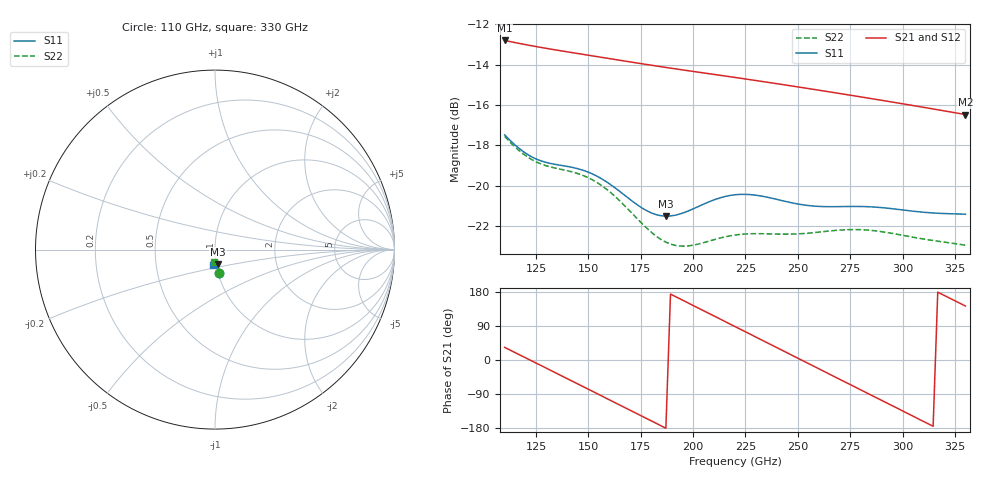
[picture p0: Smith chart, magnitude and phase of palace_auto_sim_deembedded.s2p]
! Created with skrf 1.11.0 (http://scikit-rf.org).
# GHz S DB R 50.0
!freq dBS11 angS11 dBS21 angS21 dBS12 angS12 dBS22 angS22
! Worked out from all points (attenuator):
!   101 points, 110 GHz to 330 GHz, reference 50 ohm
!   highest |S21| = -12.79 dB at 110 GHz (marker M1); lowest = -16.5 dB at 330 GHz (marker M2)
!   lowest |S11| = -21.5 dB at 187 GHz (marker M3), VSWR 1.18, Z = 51 - j8.47 ohm
!   |S11| at or under -10 dB: start of sweep to end of sweep
!   |S22| runs from -23.0 to -17.5 dB; largest |S21 - S12| = 3e-14
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110  -17.47 -81.2  -12.79 33.4  -12.79 33.4  -17.55 -81.0
118.8  -18.29 -80.4  -12.98 9.1  -12.98 9.1  -18.41 -80.4
127.6  -18.77 -79.0  -13.14 -15.2  -13.14 -15.2  -18.92 -79.2
138.6  -19.01 -78.9  -13.34 -45.6  -13.34 -45.6  -19.22 -79.5
147.4  -19.23 -80.6  -13.48 -70.0  -13.48 -70.0  -19.48 -81.6
156.2  -19.64 -82.8  -13.63 -94.5  -13.63 -94.5  -19.98 -84.6
165  -20.28 -84.1  -13.78 -118.9  -13.78 -118.9  -20.74 -86.9
176  -21.12 -82.8  -13.96 -149.4  -13.96 -149.4  -21.91 -86.7
184.8  -21.48 -79.5  -14.10 -173.9  -14.10 -173.9  -22.67 -83.6
187  -21.50 -78.6  -14.13 -180.0  -14.13 -180.0  -22.79 -82.5
195.8  -21.32 -75.8  -14.27 155.6  -14.27 155.6  -22.99 -78.2
204.6  -20.92 -75.2  -14.40 131.1  -14.40 131.1  -22.83 -75.5
220  -20.44 -78.7  -14.63 88.3  -14.63 88.3  -22.44 -75.2
228.8  -20.45 -81.6  -14.76 63.8  -14.76 63.8  -22.37 -76.3
239.8  -20.67 -84.4  -14.93 33.2  -14.93 33.2  -22.39 -77.4
248.6  -20.87 -85.6  -15.07 8.7  -15.07 8.7  -22.39 -78.0
257.4  -21.00 -86.3  -15.22 -15.8  -15.22 -15.8  -22.32 -78.9
277.2  -21.02 -88.5  -15.54 -70.9  -15.54 -70.9  -22.17 -82.9
286  -21.05 -90.1  -15.69 -95.4  -15.69 -95.4  -22.22 -85.2
294.8  -21.13 -91.7  -15.84 -119.9  -15.84 -119.9  -22.35 -87.5
312.4  -21.33 -94.1  -16.15 -168.7  -16.15 -168.7  -22.67 -91.0
330  -21.41 -96.5  -16.47 142.4  -16.47 142.4  -22.94 -94.7
